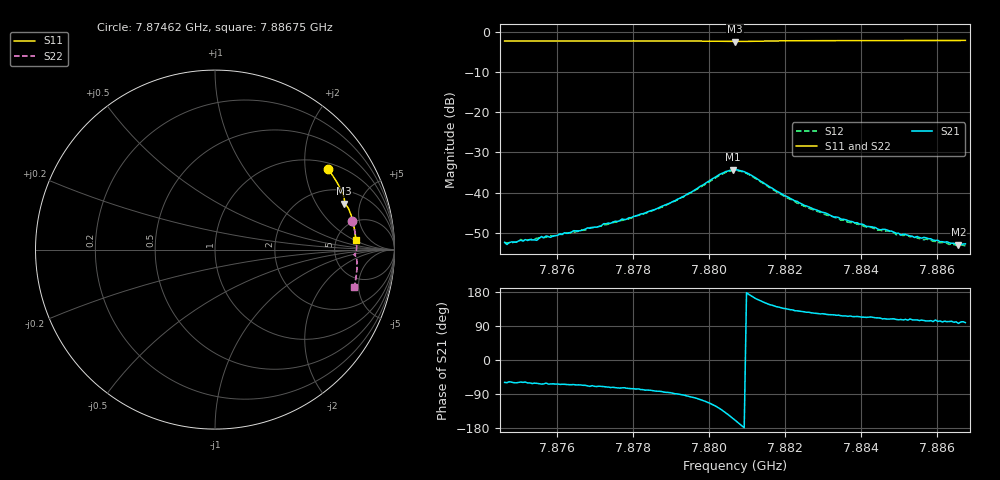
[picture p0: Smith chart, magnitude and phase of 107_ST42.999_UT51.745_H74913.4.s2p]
#  HZ  S  DB  R  50.00
! Rohde & Schwarz Vector Network Analyzer
! Rohde-Schwarz,ZNB20-2Port,1311601062101988,3.16
! Created: UTC 1/12/2023, 6:37:11 PM
! freq[Hz]  db:S11  ang:S11  db:S21  ang:S21  db:S12  ang:S12  db:S22  ang:S22
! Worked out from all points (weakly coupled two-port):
!   201 points, 7.87462 GHz to 7.88675 GHz, reference 50 ohm
!   highest |S21| = -34.33 dB at 7.88063 GHz (marker M1); lowest = -53.0 dB at 7.88657 GHz (marker M2)
!   lowest |S11| = -2.3 dB at 7.88069 GHz (marker M3), VSWR 7.45, Z = 144 + j177 ohm
!   |S11| at or under -10 dB: nowhere
!   |S22| runs from -2.2 to -1.9 dB; largest |S21 - S12| = 0.0014
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7.874621e9  -2.24 35.6  -52.42 -59.1  -52.43 -59.3  -2.14 11.6
7.874682e9  -2.25 35.5  -52.95 -59.9  -52.61 -59.8  -2.14 11.5
7.875046e9  -2.24 34.5  -51.88 -58.1  -51.71 -62.7  -2.13 10.6
7.875167e9  -2.23 34.2  -51.73 -58.2  -52.08 -61.6  -2.13 10.3
7.87547e9  -2.22 33.3  -51.92 -61.6  -51.38 -64.7  -2.12 9.5
7.875592e9  -2.22 33.0  -50.97 -63.6  -51.36 -65.3  -2.11 9.3
7.875834e9  -2.22 32.4  -51.17 -63.1  -50.74 -65.5  -2.11 8.7
7.876683e9  -2.21 30.0  -49.30 -66.7  -49.44 -70.6  -2.08 6.7
7.877836e9  -2.19 26.8  -46.63 -74.6  -46.68 -77.6  -2.06 3.9
7.878685e9  -2.19 24.5  -43.77 -82.4  -43.97 -86.2  -2.05 2.0
7.879534e9  -2.22 22.0  -39.93 -97.5  -40.03 -100.8  -2.07 -0.1
7.880262e9  -2.30 20.1  -35.58 -127.0  -35.80 -130.4  -2.15 -1.8
7.880626e9  -2.34 19.7  -34.33 -153.8  -34.56 -157.3  -2.21 -2.1
7.880686e9  -2.35 19.6  -34.34 -158.6  -34.52 -162.6  -2.21 -2.0
7.88105e9  -2.30 19.2  -35.34 173.1  -35.50 169.5  -2.16 -2.3
7.88196e9  -2.18 16.9  -40.61 136.3  -40.78 133.1  -2.03 -4.2
7.882749e9  -2.14 14.6  -44.08 123.8  -44.33 120.6  -1.98 -6.1
7.883598e9  -2.12 12.3  -46.76 116.4  -47.24 113.7  -1.96 -8.0
7.88475e9  -2.11 9.3  -49.58 108.0  -49.60 105.1  -1.94 -10.6
7.884932e9  -2.11 8.8  -50.16 107.0  -50.54 105.8  -1.94 -11.0
7.88657e9  -2.09 4.5  -52.98 96.5  -53.37 98.7  -1.92 -14.6
7.886752e9  -2.08 4.0  -52.79 98.7  -53.33 94.4  -1.92 -15.0
